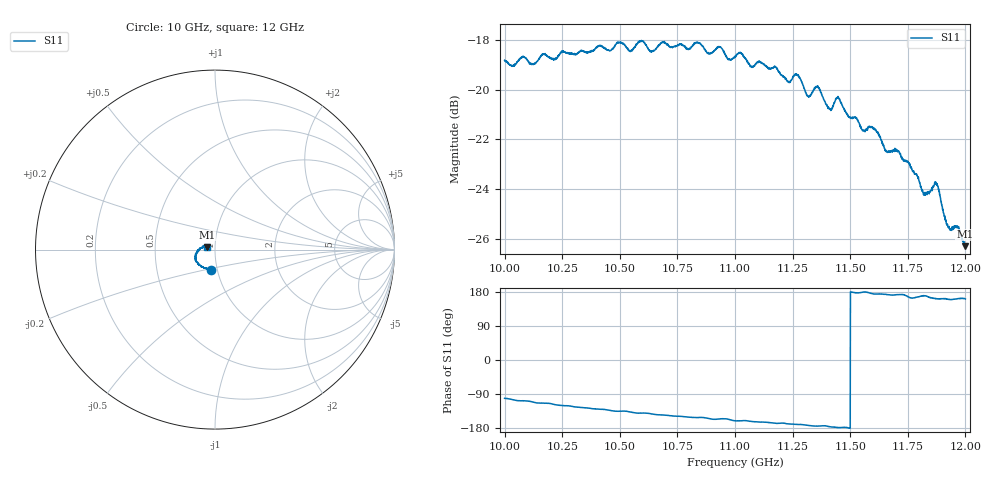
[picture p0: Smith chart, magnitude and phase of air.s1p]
[Version] 2.0
! Rohde & Schwarz Vector Network Analyzer
! Rohde-Schwarz,ZNL20-2Port,1323001220200009,1.71.1.10-23.02.1.238
! Port Assignments:
! Nominal Port -> Actual Test Port
!  1 -> 1
! Created: GMT 2024-09-05 11:09:20
# Hz S DB R 50
[Number of Ports] 1
! freq[Hz]  S11[mag dB]  S11[ang]
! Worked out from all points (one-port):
!   2001 points, 10 GHz to 12 GHz, reference 50 ohm
!   lowest |S11| = -26.3 dB at 12 GHz (marker M1), VSWR 1.10, Z = 45.6 + j1.36 ohm
!   |S11| at or under -10 dB: start of sweep to end of sweep
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[Number of Frequencies] 28
[Network Data]
1e10  -18.80 -101.2
1.0124e10  -18.98 -111.1
1.025e10  -18.46 -120.2
1.05e10  -18.09 -135.1
1.0545e10  -18.41 -137.1
1.0592e10  -18.04 -140.2
1.0639e10  -18.46 -142.5
1.075e10  -18.20 -148.4
1.0839e10  -18.09 -151.8
1.0885e10  -18.55 -154.2
1.1e10  -18.64 -160.2
1.125e10  -19.51 -169.2
1.1274e10  -19.44 -170.3
1.1319e10  -20.28 -172.6
1.136e10  -19.85 -174.3
1.1411e10  -20.77 -175.9
1.1448e10  -20.31 -178.1
1.15e10  -21.13 -180.0
1.1556e10  -21.63 178.8
1.1603e10  -21.55 174.4
1.1657e10  -22.47 173.0
1.175e10  -22.88 167.5
1.1821e10  -24.17 169.4
1.1876e10  -23.85 161.7
1.1924e10  -25.51 160.6
1.1964e10  -25.49 161.5
1.1997e10  -26.31 162.1
1.2e10  -26.30 161.0
[End]
